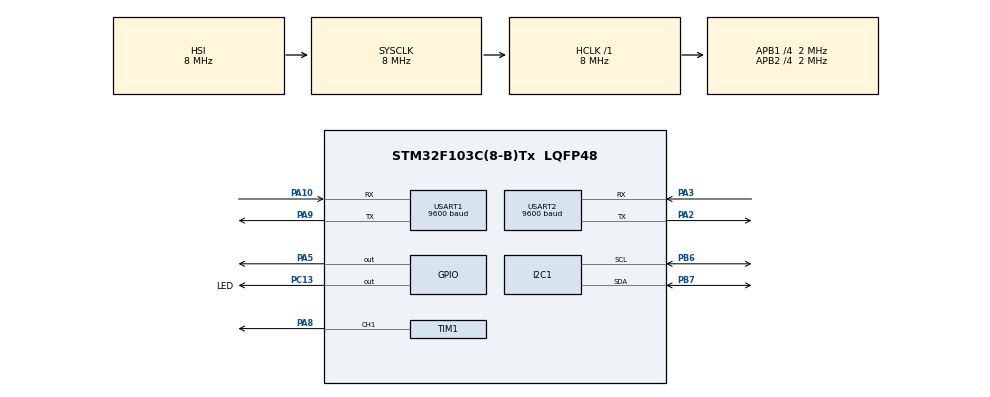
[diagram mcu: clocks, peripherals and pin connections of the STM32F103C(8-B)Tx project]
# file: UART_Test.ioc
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Mcu.Family=STM32F1
Mcu.Name=STM32F103C(8-B)Tx
Mcu.Package=LQFP48
NVIC.PriorityGroup=NVIC_PRIORITYGROUP_4
PA10.Mode=Asynchronous
PA10.Signal=USART1_RX
PA13.Mode=Serial_Wire
PA13.Signal=SYS_JTMS-SWDIO
PA14.Mode=Serial_Wire
PA14.Signal=SYS_JTCK-SWCLK
PA2.Mode=Asynchronous
PA2.Signal=USART2_TX
PA3.Mode=Asynchronous
PA3.Signal=USART2_RX
PA5.Signal=GPIO_Output
PA8.Signal=S_TIM1_CH1
PA9.Mode=Asynchronous
PA9.Signal=USART1_TX
PB6.Mode=I2C
PB6.Signal=I2C1_SCL
PB7.Mode=I2C
PB7.Signal=I2C1_SDA
PC13-TAMPER-RTC.GPIO_Label=LED
PC13-TAMPER-RTC.Signal=GPIO_Output
ProjectManager.HeapSize=0x200
ProjectManager.StackSize=0x400
ProjectManager.TargetToolchain=STM32CubeIDE
RCC.AHBFreq_Value=8000000
RCC.APB1CLKDivider=RCC_HCLK_DIV4
RCC.APB1Freq_Value=2000000
RCC.APB1TimFreq_Value=4000000
RCC.APB2CLKDivider=RCC_HCLK_DIV4
RCC.APB2Freq_Value=2000000
RCC.APB2TimFreq_Value=4000000
RCC.HCLKFreq_Value=8000000
RCC.SYSCLKFreq_VALUE=8000000
RCC.USBFreq_Value=8000000
SH.S_TIM1_CH1.0=TIM1_CH1,PWM Generation1 CH1
TIM1.Channel-PWM\ Generation1\ CH1=TIM_CHANNEL_1
TIM1.Period=1000
TIM1.Prescaler=80
TIM1.Pulse-PWM\ Generation1\ CH1=500
USART1.BaudRate=9600
USART1.VirtualMode=VM_ASYNC
USART2.BaudRate=9600
USART2.VirtualMode=VM_ASYNC
VP_RTC_No_RTC_Output.Mode=RTC_OUT_NO
VP_RTC_VS_RTC_Activate.Mode=RTC_Enabled
VP_TIM1_VS_ClockSourceINT.Mode=Internal
board=custom

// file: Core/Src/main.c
/* USER CODE BEGIN Header */
/**
  ******************************************************************************
  * @file           : main.c
  * @brief          : Main program body
  ******************************************************************************
  * @attention
  *
  * <h2><center>&copy; Copyright (c) 2019 STMicroelectronics.
  * All rights reserved.</center></h2>
  *
  * This software component is licensed by ST under BSD 3-Clause license,
  * the "License"; You may not use this file except in compliance with the
  * License. You may obtain a copy of the License at:
  *                        opensource.org/licenses/BSD-3-Clause
  *
  ******************************************************************************
  */
/* USER CODE END Header */

#include "main.h"
#include "GPS.h"

I2C_HandleTypeDef hi2c1;

RTC_HandleTypeDef hrtc;

TIM_HandleTypeDef htim1;

UART_HandleTypeDef huart1;
UART_HandleTypeDef huart2;

void SystemClock_Config(void);
static void MX_GPIO_Init(void);
static void MX_RTC_Init(void);
static void MX_USART1_UART_Init(void);
static void MX_USART2_UART_Init(void);
static void MX_TIM1_Init(void);
static void MX_I2C1_Init(void);

/* USER CODE BEGIN 0 */
int LED_State = 0;
char data[200];
char message[] = "\n\r Herro! \n\r";

/* USER CODE END 0 */

int main(void)
{

  /* MCU Configuration--------------------------------------------------------*/

  /* Reset of all peripherals, Initializes the Flash interface and the Systick. */
  HAL_Init();

  /* Configure the system clock */
  SystemClock_Config();

  /* Initialize all configured peripherals */
  MX_GPIO_Init();
  MX_RTC_Init();
  MX_USART1_UART_Init();
  MX_USART2_UART_Init();
  MX_TIM1_Init();
  MX_I2C1_Init();
  /* USER CODE BEGIN 2 */
  HAL_TIM_PWM_Start(&htim1, TIM_CHANNEL_1);
  GPS_Init();
  /* USER CODE END 2 */

  /* Infinite loop */
  while (1)
  {

    /* USER CODE BEGIN 3 */
	HAL_GPIO_TogglePin(GPIOC, GPIO_PIN_13);
	HAL_UART_Receive(&huart1, data, sizeof(data), 100);
	HAL_UART_Transmit(&huart2, data, sizeof(data), 100);

	GPS_Process();

	char buffer[64];
	int ret = snprintf(buffer, sizeof(buffer), "%f", GPS.GPGGA.Latitude);
	if (ret) {
		HAL_UART_Transmit(&huart2, message, sizeof(message), 100);
	}
	HAL_UART_Transmit(&huart2, ret, sizeof(ret), 100);
	HAL_Delay(1000);

  }
  /* USER CODE END 3 */
}

void SystemClock_Config(void)
{
  RCC_OscInitTypeDef RCC_OscInitStruct = {0};
  RCC_ClkInitTypeDef RCC_ClkInitStruct = {0};
  RCC_PeriphCLKInitTypeDef PeriphClkInit = {0};

  /** Initializes the CPU, AHB and APB busses clocks
  */
  RCC_OscInitStruct.OscillatorType = RCC_OSCILLATORTYPE_HSI|RCC_OSCILLATORTYPE_LSI;
  RCC_OscInitStruct.HSIState = RCC_HSI_ON;
  RCC_OscInitStruct.HSICalibrationValue = RCC_HSICALIBRATION_DEFAULT;
  RCC_OscInitStruct.LSIState = RCC_LSI_ON;
  RCC_OscInitStruct.PLL.PLLState = RCC_PLL_NONE;
  if (HAL_RCC_OscConfig(&RCC_OscInitStruct) != HAL_OK)
  {
    Error_Handler();
  }
  /** Initializes the CPU, AHB and APB busses clocks
  */
  RCC_ClkInitStruct.ClockType = RCC_CLOCKTYPE_HCLK|RCC_CLOCKTYPE_SYSCLK
                              |RCC_CLOCKTYPE_PCLK1|RCC_CLOCKTYPE_PCLK2;
  RCC_ClkInitStruct.SYSCLKSource = RCC_SYSCLKSOURCE_HSI;
  RCC_ClkInitStruct.AHBCLKDivider = RCC_SYSCLK_DIV1;
  RCC_ClkInitStruct.APB1CLKDivider = RCC_HCLK_DIV4;
  RCC_ClkInitStruct.APB2CLKDivider = RCC_HCLK_DIV4;

  if (HAL_RCC_ClockConfig(&RCC_ClkInitStruct, FLASH_LATENCY_0) != HAL_OK)
  {
    Error_Handler();
  }
  PeriphClkInit.PeriphClockSelection = RCC_PERIPHCLK_RTC;
  PeriphClkInit.RTCClockSelection = RCC_RTCCLKSOURCE_LSI;
  if (HAL_RCCEx_PeriphCLKConfig(&PeriphClkInit) != HAL_OK)
  {
    Error_Handler();
  }
}

static void MX_I2C1_Init(void)
{

  hi2c1.Instance = I2C1;
  hi2c1.Init.ClockSpeed = 100000;
  hi2c1.Init.DutyCycle = I2C_DUTYCYCLE_2;
  hi2c1.Init.OwnAddress1 = 0;
  hi2c1.Init.AddressingMode = I2C_ADDRESSINGMODE_7BIT;
  hi2c1.Init.DualAddressMode = I2C_DUALADDRESS_DISABLE;
  hi2c1.Init.OwnAddress2 = 0;
  hi2c1.Init.GeneralCallMode = I2C_GENERALCALL_DISABLE;
  hi2c1.Init.NoStretchMode = I2C_NOSTRETCH_DISABLE;
  if (HAL_I2C_Init(&hi2c1) != HAL_OK)
  {
    Error_Handler();
  }

}

static void MX_RTC_Init(void)
{

  RTC_TimeTypeDef sTime = {0};
  RTC_DateTypeDef DateToUpdate = {0};

  /** Initialize RTC Only
  */
  hrtc.Instance = RTC;
  hrtc.Init.AsynchPrediv = RTC_AUTO_1_SECOND;
  hrtc.Init.OutPut = RTC_OUTPUTSOURCE_NONE;
  if (HAL_RTC_Init(&hrtc) != HAL_OK)
  {
    Error_Handler();
  }

  /** Initialize RTC and set the Time and Date
  */
  sTime.Hours = 0x0;
  sTime.Minutes = 0x0;
  sTime.Seconds = 0x0;

  if (HAL_RTC_SetTime(&hrtc, &sTime, RTC_FORMAT_BCD) != HAL_OK)
  {
    Error_Handler();
  }
  DateToUpdate.WeekDay = RTC_WEEKDAY_MONDAY;
  DateToUpdate.Month = RTC_MONTH_JANUARY;
  DateToUpdate.Date = 0x1;
  DateToUpdate.Year = 0x0;

  if (HAL_RTC_SetDate(&hrtc, &DateToUpdate, RTC_FORMAT_BCD) != HAL_OK)
  {
    Error_Handler();
  }

}

static void MX_TIM1_Init(void)
{

  TIM_ClockConfigTypeDef sClockSourceConfig = {0};
  TIM_MasterConfigTypeDef sMasterConfig = {0};
  TIM_OC_InitTypeDef sConfigOC = {0};
  TIM_BreakDeadTimeConfigTypeDef sBreakDeadTimeConfig = {0};

  htim1.Instance = TIM1;
  htim1.Init.Prescaler = 80;
  htim1.Init.CounterMode = TIM_COUNTERMODE_UP;
  htim1.Init.Period = 1000;
  htim1.Init.ClockDivision = TIM_CLOCKDIVISION_DIV1;
  htim1.Init.RepetitionCounter = 0;
  htim1.Init.AutoReloadPreload = TIM_AUTORELOAD_PRELOAD_DISABLE;
  if (HAL_TIM_Base_Init(&htim1) != HAL_OK)
  {
    Error_Handler();
  }
  sClockSourceConfig.ClockSource = TIM_CLOCKSOURCE_INTERNAL;
  if (HAL_TIM_ConfigClockSource(&htim1, &sClockSourceConfig) != HAL_OK)
  {
    Error_Handler();
  }
  if (HAL_TIM_PWM_Init(&htim1) != HAL_OK)
  {
    Error_Handler();
  }
  sMasterConfig.MasterOutputTrigger = TIM_TRGO_RESET;
  sMasterConfig.MasterSlaveMode = TIM_MASTERSLAVEMODE_DISABLE;
  if (HAL_TIMEx_MasterConfigSynchronization(&htim1, &sMasterConfig) != HAL_OK)
  {
    Error_Handler();
  }
  sConfigOC.OCMode = TIM_OCMODE_PWM1;
  sConfigOC.Pulse = 500;
  sConfigOC.OCPolarity = TIM_OCPOLARITY_HIGH;
  sConfigOC.OCNPolarity = TIM_OCNPOLARITY_HIGH;
  sConfigOC.OCFastMode = TIM_OCFAST_DISABLE;
  sConfigOC.OCIdleState = TIM_OCIDLESTATE_RESET;
  sConfigOC.OCNIdleState = TIM_OCNIDLESTATE_RESET;
  if (HAL_TIM_PWM_ConfigChannel(&htim1, &sConfigOC, TIM_CHANNEL_1) != HAL_OK)
  {
    Error_Handler();
  }
  sBreakDeadTimeConfig.OffStateRunMode = TIM_OSSR_DISABLE;
  sBreakDeadTimeConfig.OffStateIDLEMode = TIM_OSSI_DISABLE;
  sBreakDeadTimeConfig.LockLevel = TIM_LOCKLEVEL_OFF;
  sBreakDeadTimeConfig.DeadTime = 0;
  sBreakDeadTimeConfig.BreakState = TIM_BREAK_DISABLE;
  sBreakDeadTimeConfig.BreakPolarity = TIM_BREAKPOLARITY_HIGH;
  sBreakDeadTimeConfig.AutomaticOutput = TIM_AUTOMATICOUTPUT_DISABLE;
  if (HAL_TIMEx_ConfigBreakDeadTime(&htim1, &sBreakDeadTimeConfig) != HAL_OK)
  {
    Error_Handler();
  }
  HAL_TIM_MspPostInit(&htim1);

}

static void MX_USART1_UART_Init(void)
{

  huart1.Instance = USART1;
  huart1.Init.BaudRate = 9600;
  huart1.Init.WordLength = UART_WORDLENGTH_8B;
  huart1.Init.StopBits = UART_STOPBITS_1;
  huart1.Init.Parity = UART_PARITY_NONE;
  huart1.Init.Mode = UART_MODE_TX_RX;
  huart1.Init.HwFlowCtl = UART_HWCONTROL_NONE;
  huart1.Init.OverSampling = UART_OVERSAMPLING_16;
  if (HAL_UART_Init(&huart1) != HAL_OK)
  {
    Error_Handler();
  }

}

static void MX_USART2_UART_Init(void)
{

  huart2.Instance = USART2;
  huart2.Init.BaudRate = 9600;
  huart2.Init.WordLength = UART_WORDLENGTH_8B;
  huart2.Init.StopBits = UART_STOPBITS_1;
  huart2.Init.Parity = UART_PARITY_NONE;
  huart2.Init.Mode = UART_MODE_TX_RX;
  huart2.Init.HwFlowCtl = UART_HWCONTROL_NONE;
  huart2.Init.OverSampling = UART_OVERSAMPLING_16;
  if (HAL_UART_Init(&huart2) != HAL_OK)
  {
    Error_Handler();
  }

}

static void MX_GPIO_Init(void)
{
  GPIO_InitTypeDef GPIO_InitStruct = {0};

  /* GPIO Ports Clock Enable */
  __HAL_RCC_GPIOC_CLK_ENABLE();
  __HAL_RCC_GPIOA_CLK_ENABLE();
  __HAL_RCC_GPIOB_CLK_ENABLE();

  /*Configure GPIO pin Output Level */
  HAL_GPIO_WritePin(LED_GPIO_Port, LED_Pin, GPIO_PIN_RESET);

  /*Configure GPIO pin Output Level */
  HAL_GPIO_WritePin(GPIOA, GPIO_PIN_5, GPIO_PIN_RESET);

  /*Configure GPIO pin : LED_Pin */
  GPIO_InitStruct.Pin = LED_Pin;
  GPIO_InitStruct.Mode = GPIO_MODE_OUTPUT_PP;
  GPIO_InitStruct.Pull = GPIO_NOPULL;
  GPIO_InitStruct.Speed = GPIO_SPEED_FREQ_LOW;
  HAL_GPIO_Init(LED_GPIO_Port, &GPIO_InitStruct);

  /*Configure GPIO pin : PA5 */
  GPIO_InitStruct.Pin = GPIO_PIN_5;
  GPIO_InitStruct.Mode = GPIO_MODE_OUTPUT_PP;
  GPIO_InitStruct.Pull = GPIO_NOPULL;
  GPIO_InitStruct.Speed = GPIO_SPEED_FREQ_LOW;
  HAL_GPIO_Init(GPIOA, &GPIO_InitStruct);

}

/* USER CODE BEGIN 4 */
void HAL_TIM_PeriodElapsedCallback(TIM_HandleTypeDef *htim){
	HAL_GPIO_TogglePin(GPIOA, GPIO_PIN_5);
}

/* USER CODE END 4 */

void Error_Handler(void)
{
}

/************************ (C) COPYRIGHT STMicroelectronics *****END OF FILE****/
